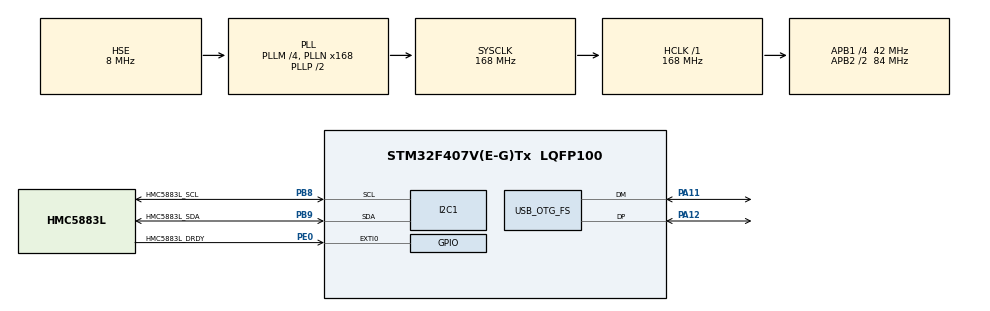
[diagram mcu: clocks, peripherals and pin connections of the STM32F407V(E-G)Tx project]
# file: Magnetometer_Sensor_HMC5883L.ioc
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I2C1.I2C_Mode=I2C_Standard
Mcu.Family=STM32F4
Mcu.Name=STM32F407V(E-G)Tx
Mcu.Package=LQFP100
NVIC.EXTI0_IRQn=true\:0\:0\:false\:false\:true\:true\:true\:true
NVIC.OTG_FS_IRQn=true\:0\:0\:false\:false\:true\:false\:true\:true
NVIC.PriorityGroup=NVIC_PRIORITYGROUP_0
PA11.Mode=Device_Only
PA11.Signal=USB_OTG_FS_DM
PA12.Mode=Device_Only
PA12.Signal=USB_OTG_FS_DP
PA13.Mode=Serial_Wire
PA13.Signal=SYS_JTMS-SWDIO
PA14.Mode=Serial_Wire
PA14.Signal=SYS_JTCK-SWCLK
PB8.GPIO_Label=HMC5883L_SCL
PB8.Mode=I2C
PB8.Signal=I2C1_SCL
PB9.GPIO_Label=HMC5883L_SDA
PB9.Mode=I2C
PB9.Signal=I2C1_SDA
PE0.GPIO_Label=HMC5883L_DRDY
PE0.GPIO_ModeDefaultEXTI=GPIO_MODE_IT_FALLING
PE0.Signal=GPXTI0
PH0-OSC_IN.Mode=HSE-External-Oscillator
PH0-OSC_IN.Signal=RCC_OSC_IN
PH1-OSC_OUT.Mode=HSE-External-Oscillator
PH1-OSC_OUT.Signal=RCC_OSC_OUT
ProjectManager.HeapSize=0x200
ProjectManager.StackSize=0x400
ProjectManager.TargetToolchain=STM32CubeIDE
RCC.48MHZClocksFreq_Value=48000000
RCC.AHBFreq_Value=168000000
RCC.APB1CLKDivider=RCC_HCLK_DIV4
RCC.APB1Freq_Value=42000000
RCC.APB1TimFreq_Value=84000000
RCC.APB2CLKDivider=RCC_HCLK_DIV2
RCC.APB2Freq_Value=84000000
RCC.APB2TimFreq_Value=168000000
RCC.CortexFreq_Value=168000000
RCC.HCLKFreq_Value=168000000
RCC.HSE_VALUE=8000000
RCC.HSI_VALUE=16000000
RCC.LSE_VALUE=32768
RCC.PLLM=4
RCC.PLLN=168
RCC.PLLQ=7
RCC.PLLSourceVirtual=RCC_PLLSOURCE_HSE
RCC.SYSCLKFreq_VALUE=168000000
RCC.SYSCLKSource=RCC_SYSCLKSOURCE_PLLCLK
RCC.VCOOutputFreq_Value=336000000
USB_DEVICE.CLASS_NAME_FS=CDC
USB_DEVICE.VirtualMode-CDC_FS=Cdc
USB_DEVICE.VirtualModeFS=Cdc_FS
USB_OTG_FS.VirtualMode=Device_Only
VP_USB_DEVICE_VS_USB_DEVICE_CDC_FS.Mode=CDC_FS
board=STM32F407G-DISC1

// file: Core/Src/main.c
/* USER CODE BEGIN Header */
/**
  ******************************************************************************
  * @file           : main.c
  * @brief          : Main program body
  ******************************************************************************
  * @attention
  *
  * Copyright (c) 2025 STMicroelectronics.
  * All rights reserved.
  *
  * This software is licensed under terms that can be found in the LICENSE file
  * in the root directory of this software component.
  * If no LICENSE file comes with this software, it is provided AS-IS.
  *
  ******************************************************************************
  */
/* USER CODE END Header */
#include "main.h"
#include "usb_device.h"

/* USER CODE BEGIN Includes */
#include "hmc5883l.h"
#include <math.h>
#include "usbd_cdc_if.h"
/* USER CODE END Includes */

/* USER CODE BEGIN PD */
#define RAD_TO_DEG (180.0 / M_PI)
/* USER CODE END PD */

I2C_HandleTypeDef hi2c1;

/* USER CODE BEGIN PV */
struct hmc5883l_dev hmc5883l = {0};
struct hmc5883l_interface hmc5883l_intf = {&hi2c1};
/* USER CODE END PV */

void SystemClock_Config(void);
static void MX_GPIO_Init(void);
static void MX_I2C1_Init(void);

/* USER CODE BEGIN 0 */
volatile uint8_t init_flag = 0U;
float heading = 0.0f;
char usb_msg[100] = {0};
void HAL_GPIO_EXTI_Callback(uint16_t GPIO_Pin)
{
	if( GPIO_Pin == HMC5883L_DRDY_Pin )
	{
		if ( init_flag )
		{
			uint8_t rx_data[6] = {0};
			int16_t x = 0 , y = 0 , z = 0;
			hmc5883l.read_func(HMC5883L_DOR_X_MSB_REG,rx_data,6U);

			x = (int16_t)(( rx_data[0] << 8U ) | rx_data[1]);
			y = (int16_t)(( rx_data[4] << 8U ) | rx_data[5]);
			z = (int16_t)(( rx_data[2] << 8U ) | rx_data[3]);

			hmc5883l.mag_data.mx 	= 	(double)x * (double)2.56f;
			hmc5883l.mag_data.my 	= 	(double)y * (double)2.56f;
			hmc5883l.mag_data.mz 	= 	(double)z * (double)2.56f;

			// Repeat to start single measurement mode
			uint8_t tx_data = 0x01U;
			hmc5883l.write_func(HMC5883L_MODE_REG,&tx_data,1U);

			/*
			 * @ref Honeywell COMPASS HEADING USING MAGNETOMETERS Application Note
			 */
		    if (hmc5883l.mag_data.my > 0)
		    {
		    	heading = 90.0f - atan(hmc5883l.mag_data.mx / hmc5883l.mag_data.my) * RAD_TO_DEG;
		    }
		    else if (hmc5883l.mag_data.my < 0)
		    {
		    	heading = 270.0 - atan(hmc5883l.mag_data.mx / hmc5883l.mag_data.my) * RAD_TO_DEG;
		    }
		    else if ( (hmc5883l.mag_data.my == 0 ) && ( hmc5883l.mag_data.mx < 0) )
		    {
		    	heading = 180.0f;
		    }
		    else if ( (hmc5883l.mag_data.my == 0 ) && ( hmc5883l.mag_data.mx > 0) )
		    {
		    	heading = 0.0f;
		    }

		    if (heading < 0)
		    {
		    	heading += 360.0f;
		    }
		}

	}
}
/* USER CODE END 0 */

int main(void)
{

  /* MCU Configuration--------------------------------------------------------*/

  /* Reset of all peripherals, Initializes the Flash interface and the Systick. */
  HAL_Init();

  /* Configure the system clock */
  SystemClock_Config();

  /* Initialize all configured peripherals */
  MX_GPIO_Init();
  MX_I2C1_Init();
  MX_USB_DEVICE_Init();
  /* USER CODE BEGIN 2 */

  if ( hmc5883l_init(&hmc5883l) != HMC5883L_OK )
  {
	  Error_Handler();
  }

  init_flag = 1U;

  /* USER CODE END 2 */

  /* Infinite loop */
  while (1)
  {

  }
}

void SystemClock_Config(void)
{
  RCC_OscInitTypeDef RCC_OscInitStruct = {0};
  RCC_ClkInitTypeDef RCC_ClkInitStruct = {0};

  /** Configure the main internal regulator output voltage
  */
  __HAL_RCC_PWR_CLK_ENABLE();
  __HAL_PWR_VOLTAGESCALING_CONFIG(PWR_REGULATOR_VOLTAGE_SCALE1);

  /** Initializes the RCC Oscillators according to the specified parameters
  * in the RCC_OscInitTypeDef structure.
  */
  RCC_OscInitStruct.OscillatorType = RCC_OSCILLATORTYPE_HSE;
  RCC_OscInitStruct.HSEState = RCC_HSE_ON;
  RCC_OscInitStruct.PLL.PLLState = RCC_PLL_ON;
  RCC_OscInitStruct.PLL.PLLSource = RCC_PLLSOURCE_HSE;
  RCC_OscInitStruct.PLL.PLLM = 4;
  RCC_OscInitStruct.PLL.PLLN = 168;
  RCC_OscInitStruct.PLL.PLLP = RCC_PLLP_DIV2;
  RCC_OscInitStruct.PLL.PLLQ = 7;
  if (HAL_RCC_OscConfig(&RCC_OscInitStruct) != HAL_OK)
  {
    Error_Handler();
  }

  /** Initializes the CPU, AHB and APB buses clocks
  */
  RCC_ClkInitStruct.ClockType = RCC_CLOCKTYPE_HCLK|RCC_CLOCKTYPE_SYSCLK
                              |RCC_CLOCKTYPE_PCLK1|RCC_CLOCKTYPE_PCLK2;
  RCC_ClkInitStruct.SYSCLKSource = RCC_SYSCLKSOURCE_PLLCLK;
  RCC_ClkInitStruct.AHBCLKDivider = RCC_SYSCLK_DIV1;
  RCC_ClkInitStruct.APB1CLKDivider = RCC_HCLK_DIV4;
  RCC_ClkInitStruct.APB2CLKDivider = RCC_HCLK_DIV2;

  if (HAL_RCC_ClockConfig(&RCC_ClkInitStruct, FLASH_LATENCY_5) != HAL_OK)
  {
    Error_Handler();
  }
}

static void MX_I2C1_Init(void)
{

  hi2c1.Instance = I2C1;
  hi2c1.Init.ClockSpeed = 100000;
  hi2c1.Init.DutyCycle = I2C_DUTYCYCLE_2;
  hi2c1.Init.OwnAddress1 = 0;
  hi2c1.Init.AddressingMode = I2C_ADDRESSINGMODE_7BIT;
  hi2c1.Init.DualAddressMode = I2C_DUALADDRESS_DISABLE;
  hi2c1.Init.OwnAddress2 = 0;
  hi2c1.Init.GeneralCallMode = I2C_GENERALCALL_DISABLE;
  hi2c1.Init.NoStretchMode = I2C_NOSTRETCH_DISABLE;
  if (HAL_I2C_Init(&hi2c1) != HAL_OK)
  {
    Error_Handler();
  }

}

static void MX_GPIO_Init(void)
{
  GPIO_InitTypeDef GPIO_InitStruct = {0};

  /* GPIO Ports Clock Enable */
  __HAL_RCC_GPIOH_CLK_ENABLE();
  __HAL_RCC_GPIOA_CLK_ENABLE();
  __HAL_RCC_GPIOB_CLK_ENABLE();
  __HAL_RCC_GPIOE_CLK_ENABLE();

  /*Configure GPIO pin : HMC5883L_DRDY_Pin */
  GPIO_InitStruct.Pin = HMC5883L_DRDY_Pin;
  GPIO_InitStruct.Mode = GPIO_MODE_IT_FALLING;
  GPIO_InitStruct.Pull = GPIO_NOPULL;
  HAL_GPIO_Init(HMC5883L_DRDY_GPIO_Port, &GPIO_InitStruct);

  /* EXTI interrupt init*/
  HAL_NVIC_SetPriority(EXTI0_IRQn, 0, 0);
  HAL_NVIC_EnableIRQ(EXTI0_IRQn);

}

void Error_Handler(void)
{
  __disable_irq();
  while (1)
  {
  }
}
